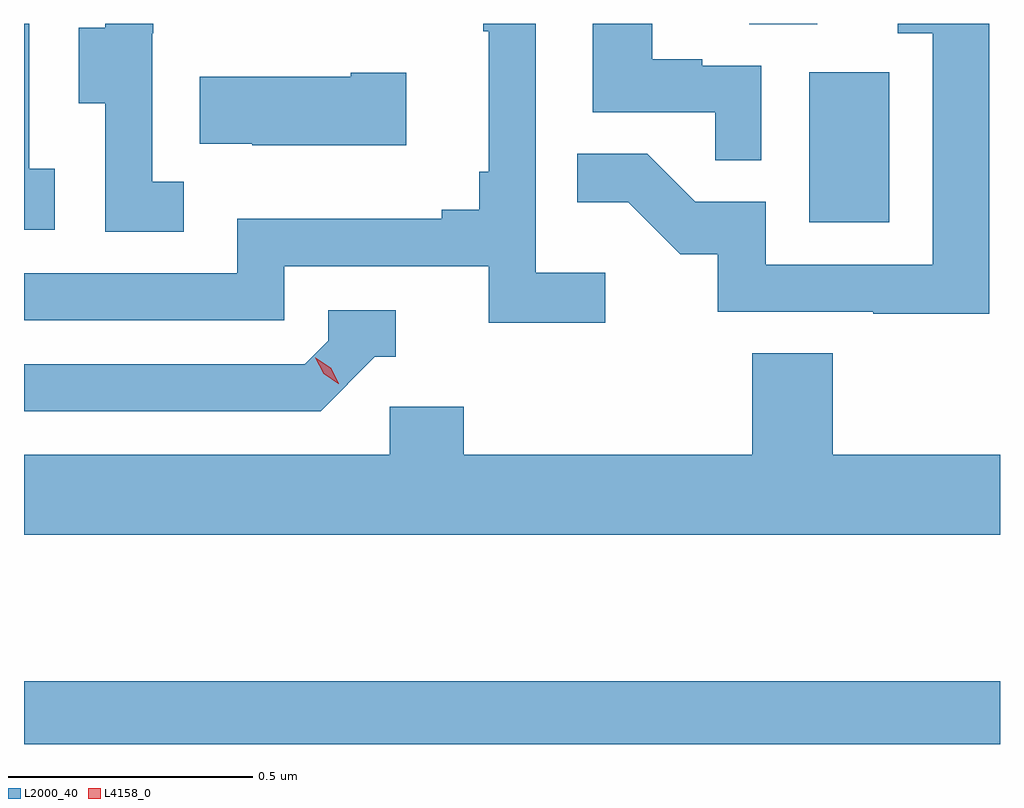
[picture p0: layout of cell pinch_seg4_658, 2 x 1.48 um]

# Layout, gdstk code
import gdstk
lib = gdstk.Library(unit=1e-6, precision=1e-09)
def R(c, l, rs):  # rectangles x0, y0, x1, y1
    for r in rs: c.add(gdstk.rectangle(r[:2], r[2:], *l))
def P(c, l, *ps):  # polygons
    for p in ps: c.add(gdstk.Polygon(p, *l))
L2000_40 = (2000, 40)
L4158_0 = (4158, 0)

pinch_seg4_658 = lib.new_cell('pinch_seg4_658')
R(pinch_seg4_658, L2000_40, [(1057.081,761.758,1059.081,761.887), (1058.69,762.828,1058.854,763.135), (1058.567,763.234,1058.707,763.235)])
P(pinch_seg4_658, L2000_40, [(1058.592,763.149),(1058.471,763.149),(1058.471,763.162),(1058.368,763.162),(1058.368,763.235),(1058.246,763.235),(1058.246,763.053),(1058.497,763.053),(1058.497,762.955),(1058.592,762.955)],
  [(1059.059,763.235),(1058.871,763.235),(1058.871,763.215),(1058.943,763.215),(1058.943,762.741),(1058.601,762.741),(1058.601,762.87),(1058.456,762.87),(1058.358,762.968),(1058.215,762.968),(1058.215,762.869),(1058.319,762.869),(1058.426,762.762),(1058.503,762.762),(1058.503,762.645),(1058.821,762.645),(1058.821,762.64),(1059.059,762.64)],
  [(1058.272,762.724),(1058.13,762.724),(1058.13,763.235),(1058.022,763.235),(1058.022,763.219),(1058.033,763.219),(1058.033,762.931),(1058.014,762.931),(1058.014,762.854),(1057.937,762.854),(1057.937,762.835),(1057.518,762.835),(1057.518,762.723),(1057.081,762.723),(1057.081,762.627),(1057.614,762.627),(1057.614,762.738),(1058.033,762.738),(1058.033,762.622),(1058.272,762.622)],
  [(1057.144,762.938),(1057.092,762.938),(1057.092,763.235),(1057.081,763.235),(1057.081,762.813),(1057.144,762.813)],
  [(1057.408,762.911),(1057.344,762.911),(1057.344,763.215),(1057.346,763.215),(1057.346,763.235),(1057.247,763.235),(1057.247,763.227),(1057.193,763.227),(1057.193,763.072),(1057.248,763.072),(1057.248,762.808),(1057.408,762.808)],
  [(1057.864,763.134),(1057.751,763.134),(1057.751,763.126),(1057.441,763.126),(1057.441,762.989),(1057.549,762.989),(1057.549,762.986),(1057.864,762.986)],
  [(1057.8,762.552),(1057.843,762.552),(1057.843,762.648),(1057.704,762.648),(1057.704,762.585),(1057.656,762.537),(1057.081,762.537),(1057.081,762.441),(1057.689,762.441)],
  [(1059.081,762.352),(1058.738,762.352),(1058.738,762.56),(1058.573,762.56),(1058.573,762.352),(1057.982,762.352),(1057.982,762.45),(1057.83,762.45),(1057.83,762.352),(1057.081,762.352),(1057.081,762.188),(1059.081,762.188)])
P(pinch_seg4_658, L4158_0, [(1057.725,762.497),(1057.695,762.517),(1057.678,762.55),(1057.678,762.55),(1057.679,762.55),(1057.71,762.53),(1057.726,762.498),(1057.726,762.497)])

lib.write_gds('pinch_seg4_658.gds')
